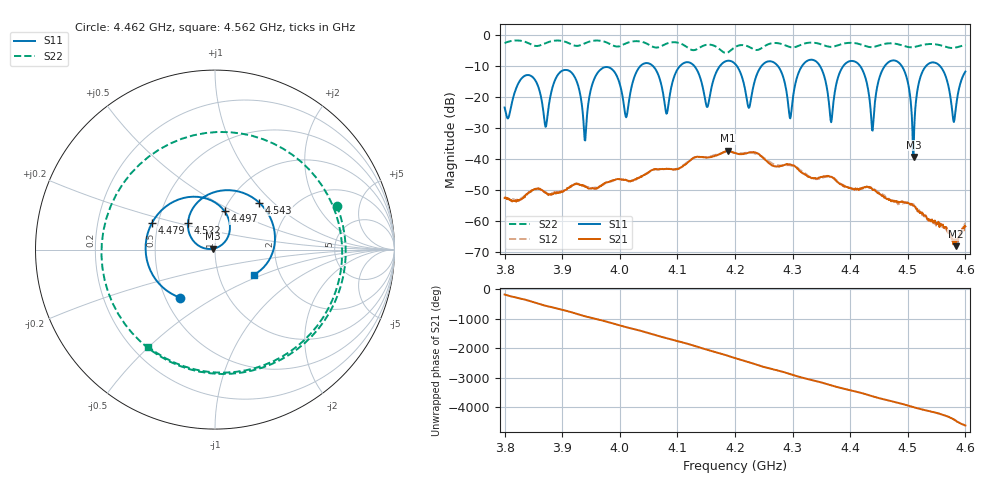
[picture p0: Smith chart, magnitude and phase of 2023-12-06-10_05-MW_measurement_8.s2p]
!Created with skrf (http://scikit-rf.org).
# Hz S RI R 50.0
!freq ReS11 ImS11 ReS21 ImS21 ReS12 ImS12 ReS22 ImS22
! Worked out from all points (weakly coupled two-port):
!   801 points, 3.8 GHz to 4.6 GHz, reference 50 ohm
!   highest |S21| = -37.36 dB at 4.187 GHz (marker M1); lowest = -68.2 dB at 4.583 GHz (marker M2)
!   lowest |S11| = -39.4 dB at 4.51 GHz (marker M3), VSWR 1.02, Z = 49.1 + j0.485 ohm
!   |S11| at or under -10 dB: start of sweep to 4.036 GHz; 4.057 GHz to 4.105 GHz (47.65 MHz wide, 1.17 % of centre); 4.129 GHz to 4.174 GHz (44.98 MHz wide, 1.08 % of centre) (the widest 3 of 9)
!   |S22| runs from -5.8 to -1.8 dB; largest |S21 - S12| = 0.0016
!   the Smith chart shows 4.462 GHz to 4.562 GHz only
!   S11 on the Smith chart (normalised r, x): 4.462 GHz: 0.59, -0.36; 4.479 GHz: 0.46, +0.16; 4.497 GHz: 1.01, +0.45; 4.522 GHz: 0.71, +0.22; 4.543 GHz: 1.37, +0.82; 4.562 GHz: 1.48, -0.44
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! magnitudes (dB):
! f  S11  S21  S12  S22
! 3.8 GHz  -23.4  -52.6  -52.5  -2.6
! 3.905 GHz  -11.3  -50.1  -50.1  -2.2
! 3.934 GHz  -22.4  -48.6  -48.5  -3.2
! 4.067 GHz  -13.0  -43.4  -43.4  -4.0
! 4.152 GHz  -23.3  -39.5  -39.4  -3.2
! 4.187 GHz  -8.4  -37.4  -37.6  -5.7
! 4.2 GHz  -9.3  -38.1  -38.1  -4.0
! 4.296 GHz  -26.9  -41.8  -42.1  -4.0
! 4.334 GHz  -8.0  -46.3  -46.2  -2.5
! 4.367 GHz  -28.2  -45.8  -45.8  -3.9
! 4.414 GHz  -9.4  -49.9  -49.8  -2.9
! 4.439 GHz  -30.9  -50.0  -49.5  -3.9
! 4.462 GHz  -9.6  -52.8  -52.5  -2.8
! 4.467 GHz  -8.8  -53.3  -52.8  -2.7
! 4.479 GHz  -8.4  -53.8  -54.0  -2.9
! 4.497 GHz  -13.1  -54.1  -54.3  -3.8
! 4.51 GHz  -39.4  -55.1  -54.6  -4.0
! 4.522 GHz  -13.5  -57.3  -57.3  -3.4
! 4.543 GHz  -8.9  -60.2  -60.1  -3.0
! 4.562 GHz  -11.7  -62.2  -61.3  -3.7
! 4.583 GHz  -24.3  -68.2  -65.8  -4.1
! 4.6 GHz  -11.8  -61.8  -61.0  -3.2
